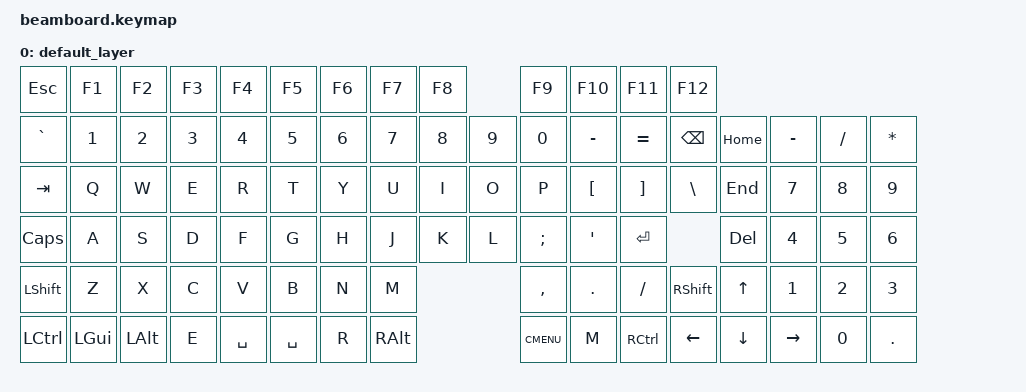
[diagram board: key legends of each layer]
/*
 * Copyright (c) 2022 The ZMK Contributors
 *
 * SPDX-License-Identifier: MIT
 */

#include <behaviors.dtsi>
#include <dt-bindings/zmk/keys.h>

/ {
    keymap {
        compatible = "zmk,keymap";

        default_layer {
            bindings = <
                &kp ESC     &kp F1      &kp F2      &kp F3      &kp F4            &kp F5      &kp F6      &kp F7      &kp F8            &kp F9      &kp F10     &kp F11     &kp F12
                &kp GRAVE   &kp N1      &kp N2      &kp N3      &kp N4      &kp N5      &kp N6      &kp N7      &kp N8      &kp N9      &kp N0      &kp MINUS   &kp EQUAL   &kp BSPC    &kp HOME    &kp MINUS   &kp FSLH    &kp ASTRK
                &kp TAB     &kp Q       &kp W       &kp E       &kp R       &kp T       &kp Y       &kp U       &kp I       &kp O       &kp P       &kp LBKT    &kp RBKT    &kp BSLH    &kp END     &kp N7      &kp N8      &kp N9
                &kp CAPS    &kp A       &kp S       &kp D       &kp F       &kp G       &kp H       &kp J       &kp K       &kp L       &kp SEMI    &kp APOS        &kp ENTER           &kp DEL     &kp N4      &kp N5      &kp N6
                &kp LSHFT   &kp Z       &kp X       &kp C       &kp V       &kp B       &kp N       &kp M       &kp COMMA   &kp PERIOD  &kp SLASH       &kp RSHFT                       &kp UP      &kp N1      &kp N2      &kp N3
                &kp LCTRL   &kp LGUI    &kp LALT    &kp E            &kp SPACE               &kp SPACE          &kp R       &kp RALT    &kp K_CMENU &kp M       &kp RCTRL   &kp LEFT    &kp DOWN    &kp RIGHT   &kp N0      &kp PERIOD
            >;
        };

    };
};
